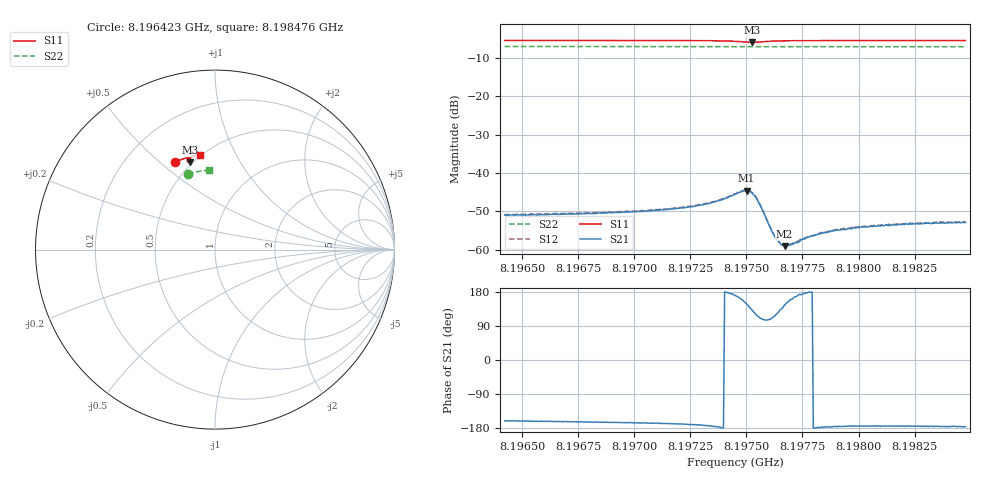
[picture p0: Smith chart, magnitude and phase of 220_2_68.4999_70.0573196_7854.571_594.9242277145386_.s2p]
#  HZ  S  RI  R  50.00
! Rohde & Schwarz Vector Network Analyzer
! Rohde-Schwarz,ZNB20-2Port,1311601062101988,3.16
! Created: UTC 3/20/2024, 5:13:37 PM
! freq[Hz]  re:S11  im:S11  re:S21  im:S21  re:S12  im:S12  re:S22  im:S22
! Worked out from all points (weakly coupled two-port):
!   401 points, 8.196423 GHz to 8.198476 GHz, reference 50 ohm
!   highest |S21| = -44.59 dB at 8.197501 GHz (marker M1); lowest = -59.1 dB at 8.19767 GHz (marker M2)
!   lowest |S11| = -5.9 dB at 8.197526 GHz (marker M3), VSWR 3.05, Z = 24.2 + j31.6 ohm
!   |S11| at or under -10 dB: nowhere
!   |S22| runs from -7.1 to -7.0 dB; largest |S21 - S12| = 0.0003
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8.196423e9  -0.2203 0.4892  -0.00267 -0.000951  -0.00277 -0.000842  -0.1497 0.4216
8.1967668e9  -0.197 0.4987  -0.00281 -0.000866  -0.00292 -0.000753  -0.1312 0.427
8.1971107e9  -0.172 0.5069  -0.0032 -0.000718  -0.0033 -0.000621  -0.1122 0.4319
8.1972185e9  -0.1633 0.5091  -0.00345 -0.000672  -0.00356 -0.000534  -0.1063 0.4331
8.1973263e9  -0.1531 0.5105  -0.00392 -0.000474  -0.00403 -0.000293  -0.1004 0.4342
8.1973724e9  -0.1477 0.5101  -0.00432 -0.00025  -0.00435 -6.61e-05  -0.0977 0.4347
8.1974494e9  -0.1366 0.5051  -0.0052 0.000859  -0.00524 0.00109  -0.0934 0.4353
8.1975008e9  -0.1341 0.4921  -0.00501 0.00311  -0.00497 0.00333  -0.0906 0.4355
8.1975264e9  -0.1409 0.486  -0.00356 0.00411  -0.00348 0.00434  -0.0894 0.4356
8.1975418e9  -0.1469 0.4858  -0.00244 0.00413  -0.00235 0.00431  -0.0888 0.4359
8.1975572e9  -0.1517 0.4888  -0.00155 0.00369  -0.00141 0.00384  -0.0881 0.4359
8.1976239e9  -0.1533 0.5044  -0.000651 0.0014  -0.000549 0.00145  -0.0843 0.4371
8.1976496e9  -0.1508 0.5079  -0.000818 0.000907  -0.000727 0.000958  -0.0828 0.4374
8.1976701e9  -0.1487 0.5099  -0.000905 0.000646  -0.000916 0.000688  -0.0817 0.4376
8.1976855e9  -0.1471 0.5111  -0.00101 0.000501  -0.000996 0.000537  -0.0809 0.4377
8.197706e9  -0.145 0.5125  -0.00112 0.000375  -0.00113 0.000432  -0.0796 0.4379
8.1977933e9  -0.1368 0.5164  -0.00153 3.32e-05  -0.00151 6.66e-05  -0.0747 0.4386
8.1978395e9  -0.1329 0.5178  -0.00164 -8.07e-05  -0.0017 -2.08e-05  -0.072 0.439
8.1979319e9  -0.1254 0.52  -0.00183 -0.000141  -0.00189 -8.7e-05  -0.0668 0.4396
8.1980037e9  -0.1196 0.5214  -0.00194 -0.00021  -0.00197 -0.0001  -0.0629 0.4402
8.1981372e9  -0.1098 0.5235  -0.00205 -0.000221  -0.00214 -0.000147  -0.0553 0.441
8.1984759e9  -0.0851 0.528  -0.00225 -0.000174  -0.00235 -6.74e-05  -0.0361 0.4424
